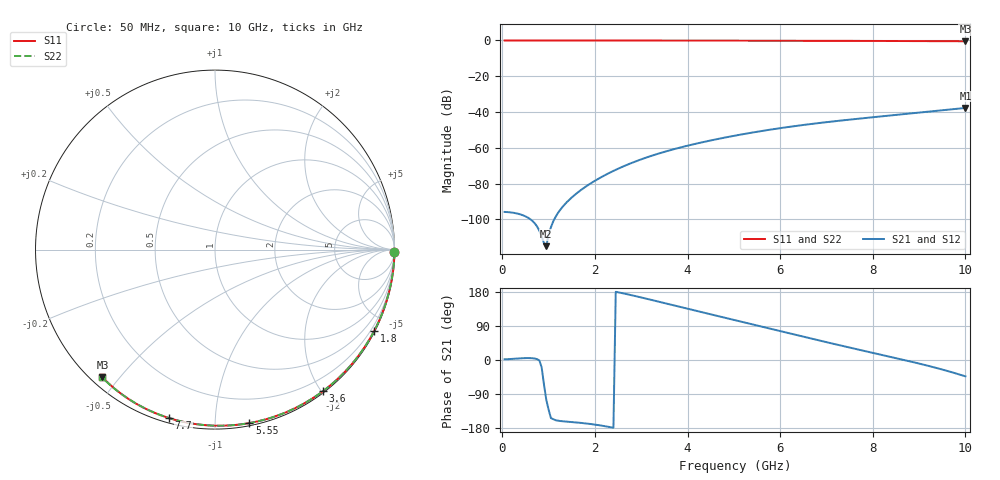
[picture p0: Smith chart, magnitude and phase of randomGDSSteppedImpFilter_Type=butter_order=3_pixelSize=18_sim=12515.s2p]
! freq	dB(S11)	phase(S11)	dB(S12)	phase(S12)
!  dB(S21)	phase(S21)	dB(S22)	phase(S22)
!S-par simulation data
#  GHz  S  DB  R 50
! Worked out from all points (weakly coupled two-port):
!   200 points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, 50 MHz to 10 GHz, reference 50 ohm
!   highest |S21| = -37.70 dB at 10 GHz (marker M1); lowest = -114.9 dB at 950 MHz (marker M2)
!   lowest |S11| = -0.5 dB at 10 GHz (marker M3), VSWR 37.52, Z = 1.6 - j22.5 ohm
!   |S11| at or under -10 dB: nowhere
!   |S22| runs from -0.4 to 0.0 dB; largest |S21 - S12| = 0
!   S11 on the Smith chart (normalised r, x): 50 MHz: open; 1.8 GHz: 0.04, -4.17; 3.6 GHz: 0.02, -2.02; 5.55 GHz: 0.02, -1.22; 7.7 GHz: 0.02, -0.76; 10 GHz: 0.03, -0.45
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0.05  -0.00 -0.8  -95.80 2.2  -95.80 2.2  -0.00 -0.8
0.5  -0.00 -7.6  -98.27 5.0  -98.27 5.0  -0.01 -7.6
0.95  -0.01 -14.4  -114.93 -104.9  -114.93 -104.9  -0.02 -14.4
1.75  -0.03 -26.2  -82.60 -166.6  -82.60 -166.6  -0.03 -26.2
1.8  -0.03 -27.0  -81.70 -167.3  -81.70 -167.3  -0.03 -27.0
1.9  -0.04 -28.4  -80.00 -168.8  -80.00 -168.8  -0.04 -28.4
2.05  -0.04 -30.6  -77.65 -171.4  -77.65 -171.4  -0.04 -30.6
2.25  -0.04 -33.5  -74.81 -175.4  -74.81 -175.4  -0.04 -33.6
2.55  -0.05 -37.9  -71.07 177.5  -71.07 177.5  -0.05 -37.9
2.95  -0.06 -43.6  -66.88 166.5  -66.88 166.5  -0.06 -43.6
3.4  -0.07 -49.9  -62.99 153.2  -62.99 153.2  -0.07 -50.0
3.6  -0.07 -52.7  -61.49 147.2  -61.49 147.2  -0.07 -52.8
3.9  -0.08 -56.9  -59.43 138.2  -59.43 138.2  -0.08 -56.9
4.25  -0.09 -61.6  -57.28 127.9  -57.28 127.9  -0.09 -61.7
5.05  -0.11 -72.3  -53.05 104.4  -53.05 104.4  -0.11 -72.3
5.55  -0.13 -78.8  -50.80 89.7  -50.80 89.7  -0.13 -78.8
6.1  -0.15 -85.7  -48.62 73.4  -48.62 73.4  -0.15 -85.8
6.7  -0.18 -93.2  -46.56 55.7  -46.56 55.7  -0.18 -93.2
7.7  -0.24 -105.2  -43.69 27.2  -43.69 27.2  -0.24 -105.2
8.35  -0.28 -112.8  -41.99 9.2  -41.99 9.2  -0.29 -112.8
9.2  -0.36 -122.5  -39.74 -15.5  -39.74 -15.5  -0.36 -122.6
10  -0.46 -131.4  -37.70 -43.2  -37.70 -43.2  -0.44 -131.6
